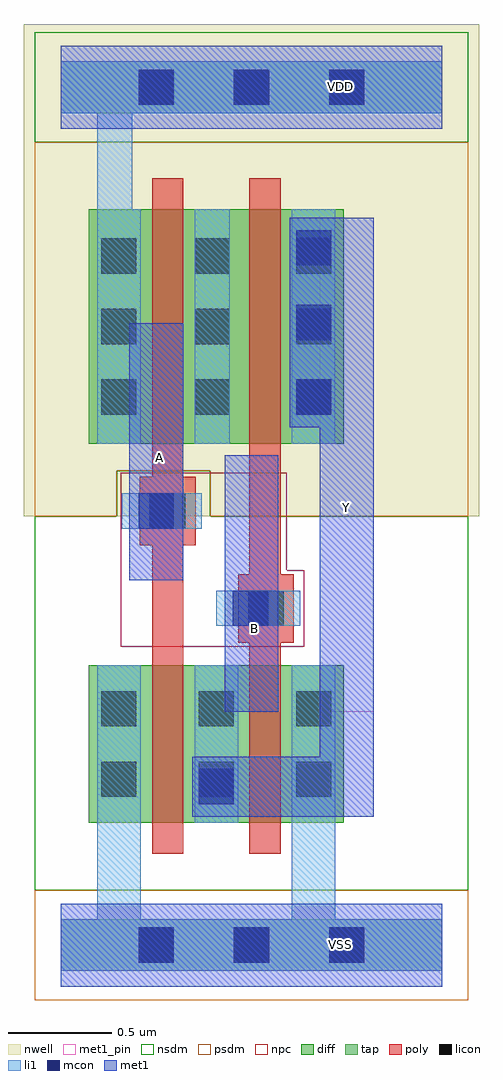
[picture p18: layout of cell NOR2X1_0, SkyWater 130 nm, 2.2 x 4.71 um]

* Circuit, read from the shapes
.subckt NOR2X1_0 A B VDD VSS Y
XM1 Y A VSS VSS sky130_fd_pr__nfet_01v8 w=0.76 l=0.15
XM2 VSS B Y VSS sky130_fd_pr__nfet_01v8 w=0.76 l=0.15
XM3 n1 A VDD VDD sky130_fd_pr__pfet_01v8 w=1.13 l=0.15
XM4 Y B n1 VDD sky130_fd_pr__pfet_01v8 w=1.13 l=0.15
.ends

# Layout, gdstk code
import gdstk
lib = gdstk.Library(unit=1e-6, precision=1e-09)
def R(c, l, rs):  # rectangles x0, y0, x1, y1
    for r in rs: c.add(gdstk.rectangle(r[:2], r[2:], *l))
def A(c, l, x, y, w, h, nx, ny, dx, dy):  # array of equal rectangles
    R(c, l, [(x+i*dx, y+j*dy, x+i*dx+w, y+j*dy+h) for i in range(nx) for j in range(ny)])
def P(c, l, *ps):  # polygons
    for p in ps: c.add(gdstk.Polygon(p, *l))
nwell = (64, 20)
diff = (65, 20)
tap = (65, 44)
poly = (66, 20)
licon = (66, 44)
li1 = (67, 20)
mcon = (67, 44)
met1_pin = (68, 16)
met1 = (68, 20)
nsdm = (93, 44)
psdm = (94, 20)
npc = (95, 20)

pyl1con_c_cdns_751554744 = lib.new_cell('PYL1CON_C_CDNS_751554744751')
R(pyl1con_c_cdns_751554744, poly, [(-0.135,-0.165,0.135,0.165)])
R(pyl1con_c_cdns_751554744, licon, [(-0.085,-0.085,0.085,0.085)])
R(pyl1con_c_cdns_751554744, npc, [(-0.185,-0.185,0.185,0.185)])

licondiff_c_cdns_7515547 = lib.new_cell('LICONDIFF_C_CDNS_751554744755')
R(licondiff_c_cdns_7515547, diff, [(-0.125,-0.145,0.125,0.145)])
R(licondiff_c_cdns_7515547, licon, [(-0.085,-0.085,0.085,0.085), (-0.085,-0.085,0.085,0.085)])

nor2x1_0 = lib.new_cell('NOR2X1_0')
R(nor2x1_0, nwell, [(-0.18,2.07,2.02,4.445)])
R(nor2x1_0, diff, [(0.135,0.59,1.365,1.35), (0.135,2.42,1.365,3.55)])
R(nor2x1_0, poly, [(0.44,0.44,0.59,3.7), (0.91,0.44,1.06,3.7)])
A(nor2x1_0, licon, 0.375, -0.085, 0.17, 0.17, 3, 2, 0.46, 4.14)
A(nor2x1_0, licon, 0.195, 0.715, 0.17, 0.17, 3, 2, 0.47, 0.34)
A(nor2x1_0, licon, 0.195, 2.56, 0.17, 0.17, 1, 3, 0, 0.34)
A(nor2x1_0, licon, 1.135, 2.56, 0.17, 0.17, 1, 3, 0, 0.34)
R(nor2x1_0, li1, [(0.645,0.59,0.855,1.35), (0.665,0.6,0.835,0.93), (0.75,1.54,1.08,1.71), (0.295,2.01,0.625,2.18), (1.115,2.42,1.325,3.55), (1.135,2.48,1.305,3.53)])
P(nor2x1_0, li1, [(1.84,0.125),(1.325,0.125),(1.325,1.35),(1.115,1.35),(1.115,0.125),(0.385,0.125),(0.385,1.35),(0.175,1.35),(0.175,0.125),(0,0.125),(0,-0.125),(1.84,-0.125)],
  [(1.84,4.265),(0,4.265),(0,4.015),(0.175,4.015),(0.175,2.42),(0.385,2.42),(0.385,3.55),(0.345,3.55),(0.345,4.015),(1.84,4.015)])
A(nor2x1_0, mcon, 0.375, -0.085, 0.17, 0.17, 3, 2, 0.46, 4.14)
A(nor2x1_0, mcon, 1.135, 2.56, 0.17, 0.17, 1, 3, 0, 0.36)
R(nor2x1_0, mcon, [(0.665,0.68,0.835,0.85), (0.83,1.54,1,1.71), (0.375,2.01,0.545,2.18)])
R(nor2x1_0, met1_pin, [(0.79,1.125,1.05,2.365), (1.25,1.125,1.51,3.51), (0.33,1.76,0.59,3)])
R(nor2x1_0, met1, [(0.635,0.62,0.865,0.91), (0.8,1.48,1.03,1.77), (0.345,1.95,0.575,2.24), (1.105,2.5,1.335,3.51)])
P(nor2x1_0, met1, [(1.51,3.51),(1.25,3.51),(1.25,0.91),(0.69,0.91),(0.69,0.62),(1.51,0.62)])
R(nor2x1_0, nsdm, [(-0.125,3.875,1.965,4.405)])
P(nor2x1_0, nsdm, [(1.965,2.07),(0.72,2.07),(0.72,2.29),(0.27,2.29),(0.27,2.07),(-0.125,2.07),(-0.125,0.265),(1.965,0.265)])
R(nor2x1_0, psdm, [(-0.125,-0.265,1.965,0.265)])
P(nor2x1_0, psdm, [(1.965,3.875),(-0.125,3.875),(-0.125,2.07),(0.27,2.07),(0.27,2.29),(0.72,2.29),(0.72,2.07),(1.965,2.07)])
R(nor2x1_0, npc, [(0.29,1.44,1.09,2.28)])
nor2x1_0.add(gdstk.FlexPath([(0.915,1.625),(1.155,1.625)], 0.17, ends="flush", simple_path=True, layer=67, datatype=20))  # li1
nor2x1_0.add(gdstk.FlexPath([(0.46,2.095),(0.68,2.095)], 0.17, ends="flush", simple_path=True, layer=67, datatype=20))  # li1
nor2x1_0.add(gdstk.FlexPath([(0.73,2.42),(0.73,3.55)], 0.17, ends="flush", simple_path=True, layer=67, datatype=20))  # li1
nor2x1_0.add(gdstk.FlexPath([(0,0),(1.84,0)], 0.4, ends="flush", simple_path=True, layer=68, datatype=20))  # met1
nor2x1_0.add(gdstk.FlexPath([(0.92,1.125),(0.92,2.365)], 0.26, ends="flush", simple_path=True, layer=68, datatype=20))  # met1
nor2x1_0.add(gdstk.FlexPath([(0,4.14),(1.84,4.14)], 0.4, ends="flush", simple_path=True, layer=68, datatype=20))  # met1
nor2x1_0.add(gdstk.FlexPath([(0.46,1.76),(0.46,3)], 0.26, ends="flush", simple_path=True, layer=68, datatype=20))  # met1
nor2x1_0.add(gdstk.FlexPath([(0,0),(1.84,0)], 0.4, ends="flush", simple_path=True, layer=68, datatype=16))  # met1_pin
nor2x1_0.add(gdstk.FlexPath([(0,4.14),(1.84,4.14)], 0.4, ends="flush", simple_path=True, layer=68, datatype=16))  # met1_pin
nor2x1_0.add(gdstk.FlexPath([(0,0),(1.84,0)], 0.25, ends="flush", simple_path=True, layer=65, datatype=44))  # tap
nor2x1_0.add(gdstk.FlexPath([(0,4.14),(1.84,4.14)], 0.25, ends="flush", simple_path=True, layer=65, datatype=44))  # tap
nor2x1_0.add(gdstk.Reference(pyl1con_c_cdns_751554744, (0.515,2.095), x_reflection=True))
nor2x1_0.add(gdstk.Reference(pyl1con_c_cdns_751554744, (0.99,1.625), x_reflection=True))
nor2x1_0.add(gdstk.Reference(licondiff_c_cdns_7515547, (0.73,2.985)))
nor2x1_0.add(gdstk.Reference(licondiff_c_cdns_7515547, (0.73,3.325)))
nor2x1_0.add(gdstk.Reference(licondiff_c_cdns_7515547, (0.73,2.645)))
nor2x1_0.add(gdstk.Label('VDD', (1.35,4.145), layer=68, texttype=5))
nor2x1_0.add(gdstk.Label('Y', (1.38,2.11), layer=68, texttype=5))
nor2x1_0.add(gdstk.Label('A', (0.475,2.355), layer=68, texttype=5))
nor2x1_0.add(gdstk.Label('B', (0.935,1.53), layer=68, texttype=5))
nor2x1_0.add(gdstk.Label('VSS', (1.35,0.005), layer=68, texttype=5))

lib.write_gds('NOR2X1_0.gds')
